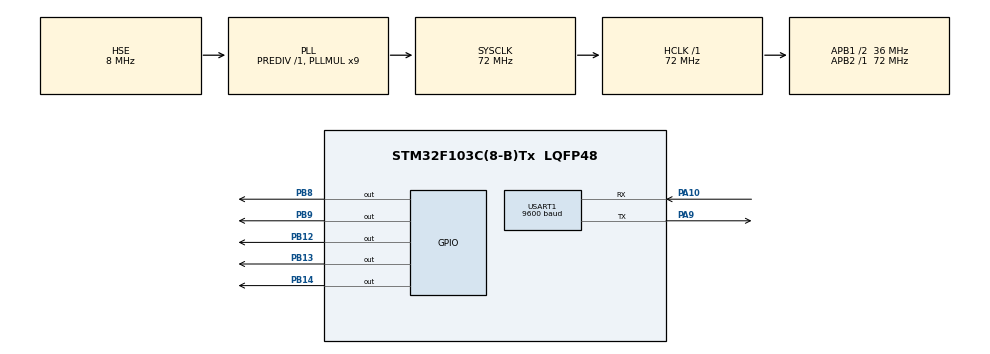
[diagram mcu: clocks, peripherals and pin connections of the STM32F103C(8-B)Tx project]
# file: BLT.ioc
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Mcu.Family=STM32F1
Mcu.Name=STM32F103C(8-B)Tx
Mcu.Package=LQFP48
NVIC.PriorityGroup=NVIC_PRIORITYGROUP_4
NVIC.USART1_IRQn=true\:0\:0\:false\:false\:true\:true\:true\:true
PA10.Mode=Asynchronous
PA10.Signal=USART1_RX
PA13.Mode=Serial_Wire
PA13.Signal=SYS_JTMS-SWDIO
PA14.Mode=Serial_Wire
PA14.Signal=SYS_JTCK-SWCLK
PA9.Mode=Asynchronous
PA9.Signal=USART1_TX
PB12.Signal=GPIO_Output
PB13.Signal=GPIO_Output
PB14.Signal=GPIO_Output
PB8.GPIO_ModeDefaultOutputPP=GPIO_MODE_OUTPUT_OD
PB8.GPIO_PuPd=GPIO_NOPULL
PB8.Signal=GPIO_Output
PB9.GPIO_ModeDefaultOutputPP=GPIO_MODE_OUTPUT_OD
PB9.GPIO_PuPd=GPIO_NOPULL
PB9.Signal=GPIO_Output
PD0-OSC_IN.Mode=HSE-External-Oscillator
PD0-OSC_IN.Signal=RCC_OSC_IN
PD1-OSC_OUT.Mode=HSE-External-Oscillator
PD1-OSC_OUT.Signal=RCC_OSC_OUT
ProjectManager.HeapSize=0x200
ProjectManager.StackSize=0x400
ProjectManager.TargetToolchain=STM32CubeIDE
RCC.AHBFreq_Value=72000000
RCC.APB1CLKDivider=RCC_HCLK_DIV2
RCC.APB1Freq_Value=36000000
RCC.APB1TimFreq_Value=72000000
RCC.APB2Freq_Value=72000000
RCC.APB2TimFreq_Value=72000000
RCC.HCLKFreq_Value=72000000
RCC.PLLMUL=RCC_PLL_MUL9
RCC.PLLSourceVirtual=RCC_PLLSOURCE_HSE
RCC.SYSCLKFreq_VALUE=72000000
RCC.SYSCLKSource=RCC_SYSCLKSOURCE_PLLCLK
RCC.USBFreq_Value=72000000
USART1.BaudRate=9600
USART1.VirtualMode=VM_ASYNC
board=custom

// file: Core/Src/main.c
/* USER CODE BEGIN Header */
/**
  ******************************************************************************
  * @file           : main.c
  * @brief          : Main program body
  ******************************************************************************
  * @attention
  *
  * Copyright (c) 2026 STMicroelectronics.
  * All rights reserved.
  *
  * This software is licensed under terms that can be found in the LICENSE file
  * in the root directory of this software component.
  * If no LICENSE file comes with this software, it is provided AS-IS.
  *
  ******************************************************************************
  */
/* USER CODE END Header */
#include "main.h"
#include "usart.h"
#include "gpio.h"

/* USER CODE BEGIN Includes */
#include "OLED.h"
/* USER CODE END Includes */

/* USER CODE BEGIN PV */
uint8_t Rx_Data=0;
/* USER CODE END PV */

void SystemClock_Config(void);

/* USER CODE BEGIN 0 */
void RGB_Write(uint8_t red,uint8_t green,uint8_t blue)
{
	if(red)	HAL_GPIO_WritePin(GPIOB,GPIO_PIN_14,GPIO_PIN_SET);
	else 	HAL_GPIO_WritePin(GPIOB,GPIO_PIN_14,GPIO_PIN_RESET);

	if(green)	HAL_GPIO_WritePin(GPIOB,GPIO_PIN_13,GPIO_PIN_SET);
	else 		HAL_GPIO_WritePin(GPIOB,GPIO_PIN_13,GPIO_PIN_RESET);

	if(blue)	HAL_GPIO_WritePin(GPIOB,GPIO_PIN_12,GPIO_PIN_SET);
	else 		HAL_GPIO_WritePin(GPIOB,GPIO_PIN_12,GPIO_PIN_RESET);
}
/* USER CODE END 0 */

int main(void)
{

  /* MCU Configuration--------------------------------------------------------*/

  /* Reset of all peripherals, Initializes the Flash interface and the Systick. */
  HAL_Init();

  /* USER CODE BEGIN Init */
  OLED_Init();
  /* USER CODE END Init */

  /* Configure the system clock */
  SystemClock_Config();

  /* Initialize all configured peripherals */
  MX_GPIO_Init();
  MX_USART1_UART_Init();
  /* USER CODE BEGIN 2 */

  OLED_ShowBinNum(4, 1, 0xAA55, 16);
  HAL_UART_Receive_IT(&huart1,&Rx_Data,1);

  /* USER CODE END 2 */

  /* Infinite loop */
  while (1)
  {

  }
}

void SystemClock_Config(void)
{
  RCC_OscInitTypeDef RCC_OscInitStruct = {0};
  RCC_ClkInitTypeDef RCC_ClkInitStruct = {0};

  /** Initializes the RCC Oscillators according to the specified parameters
  * in the RCC_OscInitTypeDef structure.
  */
  RCC_OscInitStruct.OscillatorType = RCC_OSCILLATORTYPE_HSE;
  RCC_OscInitStruct.HSEState = RCC_HSE_ON;
  RCC_OscInitStruct.HSEPredivValue = RCC_HSE_PREDIV_DIV1;
  RCC_OscInitStruct.HSIState = RCC_HSI_ON;
  RCC_OscInitStruct.PLL.PLLState = RCC_PLL_ON;
  RCC_OscInitStruct.PLL.PLLSource = RCC_PLLSOURCE_HSE;
  RCC_OscInitStruct.PLL.PLLMUL = RCC_PLL_MUL9;
  if (HAL_RCC_OscConfig(&RCC_OscInitStruct) != HAL_OK)
  {
    Error_Handler();
  }

  /** Initializes the CPU, AHB and APB buses clocks
  */
  RCC_ClkInitStruct.ClockType = RCC_CLOCKTYPE_HCLK|RCC_CLOCKTYPE_SYSCLK
                              |RCC_CLOCKTYPE_PCLK1|RCC_CLOCKTYPE_PCLK2;
  RCC_ClkInitStruct.SYSCLKSource = RCC_SYSCLKSOURCE_PLLCLK;
  RCC_ClkInitStruct.AHBCLKDivider = RCC_SYSCLK_DIV1;
  RCC_ClkInitStruct.APB1CLKDivider = RCC_HCLK_DIV2;
  RCC_ClkInitStruct.APB2CLKDivider = RCC_HCLK_DIV1;

  if (HAL_RCC_ClockConfig(&RCC_ClkInitStruct, FLASH_LATENCY_2) != HAL_OK)
  {
    Error_Handler();
  }
}

/* USER CODE BEGIN 4 */
void HAL_UART_RxCpltCallback(UART_HandleTypeDef *huart)
{
	if(huart->Instance == USART1)
	{
		switch(Rx_Data)
		{
			case 48:
			{
				RGB_Write(1,0,0);
				break;
			}
			case 49:
			{
				RGB_Write(0,1,0);
				break;
			}
			case 50:
			{
				RGB_Write(0,0,1);
				break;
			}
			case 51:
			{
				RGB_Write(1,1,1);
				break;
			}
			case 52:
			{
				RGB_Write(0,0,0);
				break;
			}
		}
		HAL_UART_Receive_IT(&huart1,&Rx_Data,1);
	}
}
/* USER CODE END 4 */

void Error_Handler(void)
{
  __disable_irq();
  while (1)
  {
  }
}
